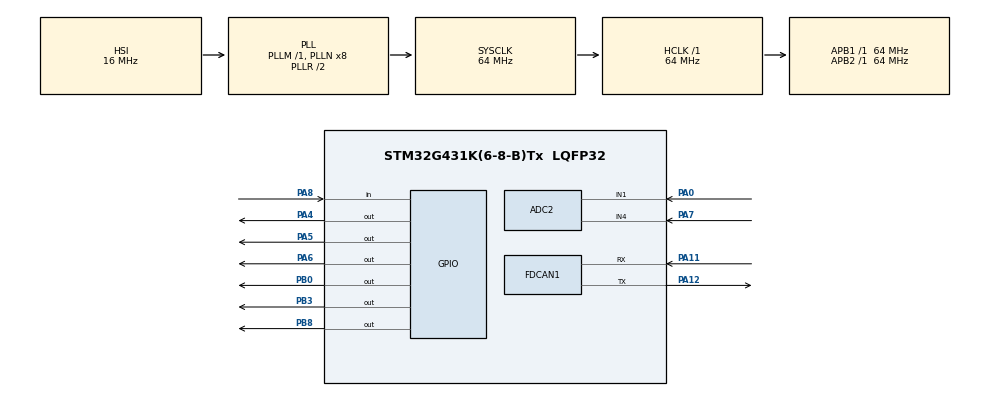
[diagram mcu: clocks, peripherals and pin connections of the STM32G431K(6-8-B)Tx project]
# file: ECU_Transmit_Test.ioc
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ADC2.Channel-0\#ChannelRegularConversion=ADC_CHANNEL_4
ADC2.Channel-1\#ChannelRegularConversion=ADC_CHANNEL_1
ADC2.ClockPrescaler=ADC_CLOCK_ASYNC_DIV2
ADC2.EOCSelection=ADC_EOC_SEQ_CONV
ADC2.LowPowerAutoWait=ENABLE
ADC2.NbrOfConversion=2
ADC2.NbrOfConversionFlag=1
ADC2.OffsetNumber-0\#ChannelRegularConversion=ADC_OFFSET_NONE
ADC2.OffsetNumber-1\#ChannelRegularConversion=ADC_OFFSET_NONE
ADC2.Rank-0\#ChannelRegularConversion=1
ADC2.Rank-1\#ChannelRegularConversion=2
ADC2.SamplingTime-0\#ChannelRegularConversion=ADC_SAMPLETIME_2CYCLES_5
ADC2.SamplingTime-1\#ChannelRegularConversion=ADC_SAMPLETIME_2CYCLES_5
Dma.ADC2.0.Direction=DMA_PERIPH_TO_MEMORY
Dma.ADC2.0.EventEnable=DISABLE
Dma.ADC2.0.Instance=DMA1_Channel1
Dma.ADC2.0.MemDataAlignment=DMA_MDATAALIGN_HALFWORD
Dma.ADC2.0.MemInc=DMA_MINC_ENABLE
Dma.ADC2.0.Mode=DMA_CIRCULAR
Dma.ADC2.0.PeriphDataAlignment=DMA_PDATAALIGN_HALFWORD
Dma.ADC2.0.PeriphInc=DMA_PINC_DISABLE
Dma.ADC2.0.Polarity=HAL_DMAMUX_REQ_GEN_RISING
Dma.ADC2.0.Priority=DMA_PRIORITY_HIGH
Dma.ADC2.0.RequestNumber=1
Dma.ADC2.0.SignalID=NONE
Dma.ADC2.0.SyncEnable=DISABLE
Dma.ADC2.0.SyncPolarity=HAL_DMAMUX_SYNC_NO_EVENT
Dma.ADC2.0.SyncRequestNumber=1
Dma.ADC2.0.SyncSignalID=NONE
Dma.Request0=ADC2
FDCAN1.CalculateBaudRateNominal=250000
FDCAN1.CalculateTimeBitNominal=4000
FDCAN1.CalculateTimeQuantumNominal=250.0
FDCAN1.NominalPrescaler=16
FDCAN1.NominalTimeSeg1=13
FDCAN1.NominalTimeSeg2=2
Mcu.Family=STM32G4
Mcu.Name=STM32G431K(6-8-B)Tx
Mcu.Package=LQFP32
NUCLEO-G431KB.LD2=true
NUCLEO-G431KB.VCP=true
NVIC.ADC1_2_IRQn=true\:0\:0\:false\:false\:true\:true\:true\:true
NVIC.DMA1_Channel1_IRQn=true\:0\:0\:false\:false\:true\:false\:true\:true
NVIC.FDCAN1_IT0_IRQn=true\:0\:0\:false\:false\:true\:true\:true\:true
NVIC.PriorityGroup=NVIC_PRIORITYGROUP_4
PA0.Mode=IN1-Single-Ended
PA0.Signal=ADC2_IN1
PA11.Mode=FDCAN_Activate
PA11.Signal=FDCAN1_RX
PA12.Mode=FDCAN_Activate
PA12.Signal=FDCAN1_TX
PA2.Signal=USART2_TX
PA3.Signal=USART2_RX
PA4.Signal=GPIO_Output
PA5.Signal=GPIO_Output
PA6.Signal=GPIO_Output
PA7.Mode=IN4-Single-Ended
PA7.Signal=ADC2_IN4
PA8.GPIO_PuPd=GPIO_PULLDOWN
PA8.Signal=GPIO_Input
PB0.Signal=GPIO_Output
PB3.Signal=GPIO_Output
PB8-BOOT0.Signal=GPIO_Output
ProjectManager.HeapSize=0x200
ProjectManager.StackSize=0x400
ProjectManager.TargetToolchain=STM32CubeIDE
RCC.ADC12CLockSelection=RCC_ADC12CLKSOURCE_PLL
RCC.ADC12Freq_Value=16000000
RCC.AHBFreq_Value=64000000
RCC.APB1Freq_Value=64000000
RCC.APB1TimFreq_Value=64000000
RCC.APB2Freq_Value=64000000
RCC.APB2TimFreq_Value=64000000
RCC.CortexFreq_Value=64000000
RCC.EXTERNAL_CLOCK_VALUE=12288000
RCC.HCLKFreq_Value=64000000
RCC.HSE_VALUE=8000000
RCC.HSI48_VALUE=48000000
RCC.HSI_VALUE=16000000
RCC.LSE_VALUE=32768
RCC.PLLP=RCC_PLLP_DIV8
RCC.SYSCLKFreq_VALUE=64000000
RCC.SYSCLKSource=RCC_SYSCLKSOURCE_PLLCLK
RCC.USBFreq_Value=64000000
RCC.VCOOutputFreq_Value=128000000
VP_NUCLEO-G431KB_VS_BSP_COMMON.Mode=COMMON
VP_SYS_VS_DBSignals.Mode=DisableDeadBatterySignals
board=NUCLEO-G431KB

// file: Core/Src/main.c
/* USER CODE BEGIN Header */
/**
  ******************************************************************************
  * @file           : main.c
  * @brief          : Main program body
  ******************************************************************************
  * @attention
  *
  * Copyright (c) 2025 STMicroelectronics.
  * All rights reserved.
  *
  * This software is licensed under terms that can be found in the LICENSE file
  * in the root directory of this software component.
  * If no LICENSE file comes with this software, it is provided AS-IS.
  *
  ******************************************************************************
  */
/* USER CODE END Header */
#include "main.h"

COM_InitTypeDef BspCOMInit;

ADC_HandleTypeDef hadc2;
DMA_HandleTypeDef hdma_adc2;

FDCAN_HandleTypeDef hfdcan1;

/* USER CODE BEGIN PV */
// Race state
struct RaceState race_state;
MotoState moto_state = STATE_PRECHARGE;
ChargerCom charge_com = ON;
BMSCom BMS = SLEEP;
// Sensors
struct Throttle throttle_sensor;
struct SteeringAngle steering_sensor;

// CAN
FDCAN_TxHeaderTypeDef tx_header;
can_message_eight tx_data;
can_message_four tx_data_four;
can_message_eight inverter_on_msg = { .sensor_int = 0x0101010101010101 };

FDCAN_RxHeaderTypeDef rx_header;
can_message_eight rx_data;

can_message_eight button_data_test;

// ADC
__IO uint8_t adc_complete_flag = 0;
uint16_t raw_adc_values[2];
/* USER CODE END PV */

void SystemClock_Config(void);
static void MX_GPIO_Init(void);
static void MX_DMA_Init(void);
static void MX_ADC2_Init(void);
static void MX_FDCAN1_Init(void);

/* USER CODE BEGIN 0 */
void HAL_FDCAN_RxFifo0Callback(FDCAN_HandleTypeDef *hfdcan, uint32_t RxFifo0ITs) {
	if ((RxFifo0ITs & FDCAN_IT_RX_FIFO0_NEW_MESSAGE) != RESET)
	{
		HAL_GPIO_TogglePin(GPIOB, GPIO_PIN_8);

		// Retrieve Rx messages from RX FIFO0
		if (HAL_FDCAN_GetRxMessage(hfdcan, FDCAN_RX_FIFO0, &rx_header, rx_data.bytes) != HAL_OK)
		{
			// Reception Error
			Error_Handler();
		} else {
			// No error, process received payload
			switch (rx_header.Identifier) {
				// Inverter
				case 0x181:
					break;

				case 0x281:
					break;
				case 0x381:
					break;
				case 0x481:
					break;
				// Display
				case 0x301:
					// Read which button was pressed
					//button_data_test.sensor_int = rx_data.sensor_int;
					//handle_button_press(&race_state, rx_data.bytes[0]); todo: remove the comments
					break;
				case 0x341: // bms actions, take them to do smthng with charger, for the debugging we do not need to do
					// bc we debug directly

					break;
				case 0x441:
					break;

			}
		}

		// Reactive receive notifications
		if (HAL_FDCAN_ActivateNotification(hfdcan, FDCAN_IT_RX_FIFO0_NEW_MESSAGE, 0) != HAL_OK)
		{
			Error_Handler();
		}
	}
}

// error detection

void fault_pin_service()
{
    if (HAL_GPIO_ReadPin(PORT_RELAY_STATE, PIN_RELAY_STATE) == GPIO_PIN_SET) {

            moto_state = STATE_ERROR;
    }
    if (HAL_GPIO_ReadPin(PORT_RELAY_STATE, PIN_RELAY_STATE) == GPIO_PIN_RESET) {
    	if (moto_state == STATE_ERROR){

                moto_state = STATE_NORMAL;
    	}
        }
}

//set output

static inline void set_all(GPIO_PinState o1, GPIO_PinState o2,
                           GPIO_PinState o3, GPIO_PinState o4)
{
    HAL_GPIO_WritePin(PORT_PRECHARGE, PIN_PRECHARGE, o1);
    HAL_GPIO_WritePin(PORT_NORMAL, PIN_NORMAL, o2);
    HAL_GPIO_WritePin(PORT_CHARGE, PIN_CHARGE, o3);
    HAL_GPIO_WritePin(PORT_ERROR, PIN_ERROR, o4);
}

// Race state
void race_state_init(struct RaceState* rs) {
	rs->rain_state = STATE_NO_RAIN;
	rs->race_mode = MODE_RACE;
}

//check moto_state
void check_moto_state(uint8_t toggle_precharge) {
    switch (moto_state) {
        case STATE_PRECHARGE:
            // Actions spécifiques au précharge
         	 if (toggle_precharge > 200) {
         				 HAL_GPIO_TogglePin(PORT_NORMAL, PIN_NORMAL);

         			  }

            break;

        case STATE_NORMAL:
            // Actions spécifiques au mode normal
            set_all(GPIO_PIN_RESET, GPIO_PIN_SET, GPIO_PIN_RESET, GPIO_PIN_RESET);

            break;

        case STATE_CHARGE:
            // Actions spécifiques à la charge
            set_all(GPIO_PIN_RESET, GPIO_PIN_RESET, GPIO_PIN_SET, GPIO_PIN_RESET);

            break;

        case STATE_ERROR:
            // Actions en cas d'erreur
            set_all(GPIO_PIN_RESET, GPIO_PIN_RESET, GPIO_PIN_RESET, GPIO_PIN_SET);

            break;
    }
}

void handle_button_press(struct RaceState* rs, uint8_t button_index) {
	if (button_index == 1) {
		// Rain state update, green button
		// TODO: possibly replace with a simple bit inversion
		if (rs->rain_state == STATE_NO_RAIN) {
			rs->rain_state = STATE_RAIN;
		} else {  // rs->rain_state == STATE_RAIN
			rs->rain_state = STATE_NO_RAIN;
			// Turn off rearlight
			HAL_GPIO_WritePin(GPIOB, GPIO_PIN_3, GPIO_PIN_RESET);
		}

		// Send rain state update message to display
		send_rain_state_display(rs);
	} else {
		// Race mode update
		switch (button_index) {
			// TODO: Maybe use an enum for the button indices and names
			case 2:  // White
				if (rs->race_mode == MODE_GYMKHANA) {
					rs->race_mode = MODE_RACE;
				} else {
					rs->race_mode = MODE_GYMKHANA;
				}
				break;
			case 3:  // Black
				if (rs->race_mode == MODE_ECO) {
					rs->race_mode = MODE_RACE;
				} else {
					rs->race_mode = MODE_ECO;
				}
				break;
			case 4:  // Yellow
				if (rs->race_mode == MODE_SENSOR_READING) {
					rs->race_mode = MODE_RACE;
				} else {
					rs->race_mode = MODE_SENSOR_READING;
				}
				break;
			case 5:  // Blue
				if (rs->race_mode == MODE_PIT_LIMITER) {
					rs->race_mode = MODE_RACE;
				} else {
					rs->race_mode = MODE_PIT_LIMITER;
				}
				break;
		}

		// Send race mode update message to display
		send_race_mode_display(rs);
	}
}

void convert_float_display(can_message_four* msg_in, can_message_four* msg_out, int decimal_points) {
    // Used for MoTeC
	msg_out->sensor_int = (uint32_t) (msg_in->sensor_float * decimal_points);
}

void send_CAN_message(uint32_t address, can_message_eight* msg) {
    // Update ID of the transmit header
    tx_header.Identifier = address;

  if (HAL_FDCAN_AddMessageToTxFifoQ(&hfdcan1, &tx_header, msg->bytes) != HAL_OK) {
        Error_Handler();
    }
}
void send_CAN_message_four(uint32_t address, can_message_four* msg) {
    // Update ID of the transmit header
    tx_header.Identifier = address;
    tx_header.DataLength = FDCAN_DLC_BYTES_4;

  if (HAL_FDCAN_AddMessageToTxFifoQ(&hfdcan1, &tx_header, msg->bytes) != HAL_OK) {
        Error_Handler();

    }
  tx_header.DataLength = FDCAN_DLC_BYTES_8;;
}

void send_turn_on_inverter(void) {
	// Sends a ON message to the inverter
	send_CAN_message(0x201, &inverter_on_msg);
}

void send_velocity_ref_inverter(struct Throttle* th) {
	// Check for safe throttle (and RPM) values
	if (throttle_sensor.throttle_value.sensor_float <= 100.0f) {
		tx_data.first.sensor_int = 0;
		tx_data.second.sensor_float = 1*throttle_sensor.throttle_value.sensor_float;
		send_CAN_message(0x301, &tx_data);

		send_turn_on_inverter();
	}
}

// Display transmission functions
void send_throttle_steering_display(struct Throttle* th, struct SteeringAngle* sa) {
	 // Send throttle in the first 4 bytes
	 th->throttle_value.sensor_float *= 2;  // TODO: fix, this could be a problem!
	 convert_float_display(&th->throttle_value, &tx_data.first, DECIMAL_POINT_2);

	 // Send steering angle in the last 4 bytes
	 // todo: REMOVE THE IF STATEMENTS HERE LATER, THIS IS JUST FOR ROLLOUT
	 if (sa->steering_value.sensor_float < 0) {
		 if (sa->steering_value.sensor_float < -24.0f) {
			 sa->steering_value.sensor_float = 24.0f;
		 } else {
			 sa->steering_value.sensor_float = -sa->steering_value.sensor_float;
		 }
	 }
	 convert_float_display(&sa->steering_value, &tx_data.second, DECIMAL_POINT_2);

	 send_CAN_message(0x102, &tx_data);
}

void send_race_mode_display(struct RaceState* rs) {
	tx_data.sensor_int = 0;  // reset transmit data
	tx_data.bytes[0] = rs->race_mode;
	send_CAN_message(0x202, &tx_data);
}

void send_rain_state_display(struct RaceState* rs) {
	tx_data.sensor_int = 0;  // reset transmit data
	tx_data.bytes[0] = rs->rain_state;
	send_CAN_message(0x302, &tx_data);
}

// Throttle functions
void throttle_init(struct Throttle* thr) {
	thr->adc_sum = 0;
	thr->buffer_index = 0;
	thr->hysteresis = 2.0f;
	thr->hysteresis_min = 5.0f;
	thr->throttle_activated = 0;
	// Init buffer with zeroes
	// maybe this can also be done at initialization
	for (int i = 0; i < THROTTLE_BUFFER_SIZE; i++) {
		thr->buffer[i] = 0;
	}

	thr->throttle_value.sensor_float = 0.0f;  // init with 0 for safety
}

void convert_adc_throttle(struct Throttle* th, uint16_t adc_value) {
	 // Calibration
	 float volt = 3.3f*((float) adc_value) / 4096.0f;  // TODO: we should always get 0 ?
	 float calc = ((float) volt-0.42f)*100.0f/1.65f;

	 th->adc_sum -= th->buffer[th->buffer_index];

	 // Add new sample
	 th->buffer[th->buffer_index] = calc;
	 th->adc_sum += calc;

	 // Increment index
	 th->buffer_index++;
	 if (th->buffer_index >= THROTTLE_BUFFER_SIZE) {
		 th->buffer_index = 0;
	 }

	 float output_value = th->adc_sum / THROTTLE_BUFFER_SIZE;

	 if (output_value > 100.0f){
		 output_value = 100.0f;
	 }

	 // Hysteresis -- TODO: This could be cleaned up?
	 if (output_value > th->hysteresis_min){
		 th->throttle_activated = 1;
	 }
	 if (th->throttle_activated == 1 && output_value < (th->hysteresis_min - th->hysteresis)){
		 th->throttle_activated = 0;
	 }

	 // Write output value
	 if (th->throttle_activated == 1) {
		 th->throttle_value.sensor_float = output_value;
	 } else {
		 th->throttle_value.sensor_float = 0.0f;
	 }
}

// Steering angle functions
void steering_angle_init(struct SteeringAngle* sa) {
	sa->adc_sum = 0;
	sa->buffer_index = 0;

	// Init buffer with zeroes
	// maybe this can also be done at initialization
	for (int i = 0; i < THROTTLE_BUFFER_SIZE; i++) {
		sa->buffer[i] = 0;
	}

	sa->steering_value.sensor_float = 0.0f;  // init with 0 for safety
}

void steering_angle_avg(struct SteeringAngle* sa, float steering_value) {
	sa->adc_sum -= sa->buffer[sa->buffer_index];

	// Add new sample
	sa->buffer[sa->buffer_index] = steering_value;
	sa->adc_sum += steering_value;

	// Increment index
	sa->buffer_index++;
	if (sa->buffer_index >= 32) {
		sa->buffer_index = 0;
	}

	// Write average value
	sa->steering_value.sensor_float = sa->adc_sum / 32.0f;
}

// ADC functions
void HAL_ADC_ConvCpltCallback(ADC_HandleTypeDef *hadc){
	adc_complete_flag = 1;
}

// je dois changer le header pour ca

 void CAN_Charger(uint8_t  value){
	 if (charge_com==OFF){
		 tx_data_four.bytes[0] = 0;
		 tx_data_four.bytes[1] = 0;
		 tx_data_four.bytes[2] = 0;
		 tx_data_four.bytes[3] = 0;
	 }
	 if (charge_com==ON){
		 tx_data_four.bytes[0] = 0;
		 tx_data_four.bytes[1] = 0;
		 tx_data_four.bytes[2] = 1;
		 tx_data_four.bytes[3] = 0;
	 }
	 if (charge_com==VOUT_SET){
		 tx_data_four.bytes[0] = 0x20;
		 tx_data_four.bytes[1] = 0;
		 tx_data_four.bytes[2] = 0x58;// change la valeur pour celle dont on a besoin
		 tx_data_four.bytes[3] = 0x1B; // attention frame format!

	 }
	 if (charge_com==IOUT_SET){
		 tx_data_four.bytes[0] = 0x20;
		 tx_data_four.bytes[1] = 0;
		 tx_data_four.bytes[2] = 0x10;
		 tx_data_four.bytes[3] = 0x27;
	 }
	 if (charge_com==FAULT_STATUS){
// different action here
	 }
	    tx_header.IdType = FDCAN_EXTENDED_ID;
	send_CAN_message_four(CHARGER_RXID, &tx_data_four); //je dois le decommenter ensuite
    tx_header.IdType = FDCAN_STANDARD_ID;

 }
 void BMS_Charger(void){

	 if (BMS==SLEEP){
		 tx_data.bytes[0] = 0x20;
		 tx_data.bytes[1] = 0;
		 tx_data.bytes[2] = 0x10;
		 tx_data.bytes[3] = 0x27;
		 tx_data.bytes[4] = 0x20;
		 tx_data.bytes[5] = 0;
		 tx_data.bytes[6] = 0x10;
		 tx_data.bytes[7] = 0x27;
	 }
	 if (BMS== BMS_ON){
		 tx_data.bytes[0] = 0x20;
		 tx_data.bytes[1] = 0;
		 tx_data.bytes[2] = 0x10;
		 tx_data.bytes[3] = 0x27;
		 tx_data.bytes[4] = 0x20;
		 tx_data.bytes[5] = 0;
		 tx_data.bytes[6] = 0x10;
		 tx_data.bytes[7] = 0x27;
	 }
		send_CAN_message(BMS_RXID, &tx_data); //je dois le decommenter ensuite

 }
void  State_Change(uint32_t time_now,uint32_t time_last_200ms,uint32_t time_last_3000ms){
	 uint8_t toggle_precharge = time_now - time_last_200ms;
	if (time_now - time_last_3000ms > 3000)
 	 {
 			 moto_state = STATE_NORMAL;
 			time_last_3000ms= -3000; // todo: change the code to be compliant with the rules
 	}

	 fault_pin_service();
	 check_moto_state(toggle_precharge);
}

/* USER CODE END 0 */

int main(void)
{

  /* MCU Configuration--------------------------------------------------------*/

  /* Reset of all peripherals, Initializes the Flash interface and the Systick. */
  HAL_Init();

  /* Configure the system clock */
  SystemClock_Config();

  /* Initialize all configured peripherals */
  MX_GPIO_Init();
  MX_DMA_Init();
  MX_ADC2_Init();
  MX_FDCAN1_Init();
  /* USER CODE BEGIN 2 */
  // Start ADC2
  HAL_ADC_Start_DMA(&hadc2, (uint32_t*) raw_adc_values, 2);

  // Start FDCAN1
    if (HAL_FDCAN_Start(&hfdcan1) != HAL_OK)
    {
      Error_Handler();
    }
    if (HAL_FDCAN_ActivateNotification(&hfdcan1, FDCAN_IT_RX_FIFO0_NEW_MESSAGE, 0) != HAL_OK)
    {
      /* Notification Error */
      Error_Handler();
    }

  // Init race state
  race_state_init(&race_state);
  // Init sensor structs
  throttle_init(&throttle_sensor);
  steering_angle_init(&steering_sensor);

  /* USER CODE END 2 */

  /* Initialize leds */
  BSP_LED_Init(LED_GREEN);

  /* Initialize COM1 port (115200, 8 bits (7-bit data + 1 stop bit), no parity */
  BspCOMInit.BaudRate   = 115200;
  BspCOMInit.WordLength = COM_WORDLENGTH_8B;
  BspCOMInit.StopBits   = COM_STOPBITS_1;
  BspCOMInit.Parity     = COM_PARITY_NONE;
  BspCOMInit.HwFlowCtl  = COM_HWCONTROL_NONE;
  if (BSP_COM_Init(COM1, &BspCOMInit) != BSP_ERROR_NONE)
  {
    Error_Handler();
  }

  /* Infinite loop */
  /* USER CODE BEGIN WHILE */
  uint32_t time_last_200ms = HAL_GetTick();
  uint32_t time_now;
uint8_t val = 0;

  while (1)
  {

	//	tx_data.first.sensor_int = 14;
	//	tx_data.second.sensor_float = 23;
	 // send_CAN_message(0x301, &tx_data);

	//	 HAL_GPIO_TogglePin(GPIOB, GPIO_PIN_8);
// a remetre pr l envoyeur
		// time_now = HAL_GetTick();

		// State_Change(time_now,time_last_200ms,time_last_3000ms);
		 time_now = HAL_GetTick();
			charge_com= SLEEP ;

	//	 if (time_now - time_last_200ms > 500) {
		// BMS_Charger();
		//			HAL_GPIO_TogglePin(GPIOB, GPIO_PIN_8);
	//	time_last_200ms = time_now;
	//				 ++val;

	//	 }

	//	if (val ==10){
//			BMS= BMS_ON ;
//			val = 11;
//		}
//		if (val ==21){
//			charge_com= SLEEP ;
//			val = 0;

 	 // Charger

 	 //
	}

  // Turn on the inverter

  int time_sum = 0;
  while (time_sum < 5000) {
	 send_turn_on_inverter();

	 // CAN messages at 50 ms interval
	 time_sum += 50;
	 HAL_Delay(50);
  }

  // Send Race Mode and Rain State
  send_race_mode_display(&race_state);
  send_rain_state_display(&race_state);

  uint32_t time_last_5ms = HAL_GetTick();
  uint32_t time_last_50ms = HAL_GetTick();
 // uint32_t time_last_200ms = HAL_GetTick(); attention!

  //uint32_t time_now; ///// attention!
  while (1)
  {
	 time_now = HAL_GetTick();

	 // Display
	 if (time_now - time_last_5ms > 5) {
		 send_throttle_steering_display(&throttle_sensor, &steering_sensor);
		 time_last_5ms = time_now;  // update last time
	 }

	 // Inverter
	 if (time_now - time_last_50ms > 50) {
		 send_velocity_ref_inverter(&throttle_sensor);
		 time_last_50ms = time_now;  // update last time
	 }

	 // Rearlight
	 if (time_now - time_last_200ms > 200) {
		 if (race_state.rain_state == STATE_RAIN) {
			 HAL_GPIO_TogglePin(GPIOB, GPIO_PIN_3);

		 } else if (race_state.race_mode == MODE_RACE) {
			 HAL_GPIO_WritePin(GPIOB, GPIO_PIN_3, GPIO_PIN_SET);
		 } else {
			 HAL_GPIO_WritePin(GPIOB, GPIO_PIN_3, GPIO_PIN_RESET);
		 }

		 time_last_200ms = time_now;  // update last time
	 }

	 // Other tasks
	 if (adc_complete_flag) {
		 // Get throttle
		 convert_adc_throttle(&throttle_sensor, raw_adc_values[0]);
//	     SpeedReference = ThrottleValue*MaxRPM/100.0;  // TODO: remove

		 // Get steering angle
		 float steering_value = (raw_adc_values[1]-3200)/4095.0f*110.0f;
		 steering_angle_avg(&steering_sensor, steering_value);

		 // Reset ADC input
		 adc_complete_flag = 0;
		 HAL_ADC_Start_DMA(&hadc2, (uint32_t*) raw_adc_values, 2);
	 }
	 // state of the motorcycle
	// fault_pin_service();
//	 check_moto_state();

    /* USER CODE END WHILE */

  }
}

void SystemClock_Config(void)
{
  RCC_OscInitTypeDef RCC_OscInitStruct = {0};
  RCC_ClkInitTypeDef RCC_ClkInitStruct = {0};

  /** Configure the main internal regulator output voltage
  */
  HAL_PWREx_ControlVoltageScaling(PWR_REGULATOR_VOLTAGE_SCALE1);

  /** Initializes the RCC Oscillators according to the specified parameters
  * in the RCC_OscInitTypeDef structure.
  */
  RCC_OscInitStruct.OscillatorType = RCC_OSCILLATORTYPE_HSI;
  RCC_OscInitStruct.HSIState = RCC_HSI_ON;
  RCC_OscInitStruct.HSICalibrationValue = RCC_HSICALIBRATION_DEFAULT;
  RCC_OscInitStruct.PLL.PLLState = RCC_PLL_ON;
  RCC_OscInitStruct.PLL.PLLSource = RCC_PLLSOURCE_HSI;
  RCC_OscInitStruct.PLL.PLLM = RCC_PLLM_DIV1;
  RCC_OscInitStruct.PLL.PLLN = 8;
  RCC_OscInitStruct.PLL.PLLP = RCC_PLLP_DIV8;
  RCC_OscInitStruct.PLL.PLLQ = RCC_PLLQ_DIV2;
  RCC_OscInitStruct.PLL.PLLR = RCC_PLLR_DIV2;
  if (HAL_RCC_OscConfig(&RCC_OscInitStruct) != HAL_OK)
  {
    Error_Handler();
  }

  /** Initializes the CPU, AHB and APB buses clocks
  */
  RCC_ClkInitStruct.ClockType = RCC_CLOCKTYPE_HCLK|RCC_CLOCKTYPE_SYSCLK
                              |RCC_CLOCKTYPE_PCLK1|RCC_CLOCKTYPE_PCLK2;
  RCC_ClkInitStruct.SYSCLKSource = RCC_SYSCLKSOURCE_PLLCLK;
  RCC_ClkInitStruct.AHBCLKDivider = RCC_SYSCLK_DIV1;
  RCC_ClkInitStruct.APB1CLKDivider = RCC_HCLK_DIV1;
  RCC_ClkInitStruct.APB2CLKDivider = RCC_HCLK_DIV1;

  if (HAL_RCC_ClockConfig(&RCC_ClkInitStruct, FLASH_LATENCY_2) != HAL_OK)
  {
    Error_Handler();
  }
}

static void MX_ADC2_Init(void)
{

  ADC_ChannelConfTypeDef sConfig = {0};

  /** Common config
  */
  hadc2.Instance = ADC2;
  hadc2.Init.ClockPrescaler = ADC_CLOCK_ASYNC_DIV2;
  hadc2.Init.Resolution = ADC_RESOLUTION_12B;
  hadc2.Init.DataAlign = ADC_DATAALIGN_RIGHT;
  hadc2.Init.GainCompensation = 0;
  hadc2.Init.ScanConvMode = ADC_SCAN_ENABLE;
  hadc2.Init.EOCSelection = ADC_EOC_SEQ_CONV;
  hadc2.Init.LowPowerAutoWait = ENABLE;
  hadc2.Init.ContinuousConvMode = DISABLE;
  hadc2.Init.NbrOfConversion = 2;
  hadc2.Init.DiscontinuousConvMode = DISABLE;
  hadc2.Init.ExternalTrigConv = ADC_SOFTWARE_START;
  hadc2.Init.ExternalTrigConvEdge = ADC_EXTERNALTRIGCONVEDGE_NONE;
  hadc2.Init.DMAContinuousRequests = DISABLE;
  hadc2.Init.Overrun = ADC_OVR_DATA_PRESERVED;
  hadc2.Init.OversamplingMode = DISABLE;
  if (HAL_ADC_Init(&hadc2) != HAL_OK)
  {
    Error_Handler();
  }

  /** Configure Regular Channel
  */
  sConfig.Channel = ADC_CHANNEL_4;
  sConfig.Rank = ADC_REGULAR_RANK_1;
  sConfig.SamplingTime = ADC_SAMPLETIME_2CYCLES_5;
  sConfig.SingleDiff = ADC_SINGLE_ENDED;
  sConfig.OffsetNumber = ADC_OFFSET_NONE;
  sConfig.Offset = 0;
  if (HAL_ADC_ConfigChannel(&hadc2, &sConfig) != HAL_OK)
  {
    Error_Handler();
  }

  /** Configure Regular Channel
  */
  sConfig.Channel = ADC_CHANNEL_1;
  sConfig.Rank = ADC_REGULAR_RANK_2;
  if (HAL_ADC_ConfigChannel(&hadc2, &sConfig) != HAL_OK)
  {
    Error_Handler();
  }

}

static void MX_FDCAN1_Init(void)
{

  hfdcan1.Instance = FDCAN1;
  hfdcan1.Init.ClockDivider = FDCAN_CLOCK_DIV1;
  hfdcan1.Init.FrameFormat = FDCAN_FRAME_CLASSIC;
  hfdcan1.Init.Mode = FDCAN_MODE_NORMAL;
  hfdcan1.Init.AutoRetransmission = DISABLE;
  hfdcan1.Init.TransmitPause = DISABLE;
  hfdcan1.Init.ProtocolException = DISABLE;
  hfdcan1.Init.NominalPrescaler = 16;
  hfdcan1.Init.NominalSyncJumpWidth = 1;
  hfdcan1.Init.NominalTimeSeg1 = 13;
  hfdcan1.Init.NominalTimeSeg2 = 2;
  hfdcan1.Init.DataPrescaler = 1;
  hfdcan1.Init.DataSyncJumpWidth = 1;
  hfdcan1.Init.DataTimeSeg1 = 1;
  hfdcan1.Init.DataTimeSeg2 = 1;
  hfdcan1.Init.StdFiltersNbr = 0;
  hfdcan1.Init.ExtFiltersNbr = 0;
  hfdcan1.Init.TxFifoQueueMode = FDCAN_TX_FIFO_OPERATION;
  if (HAL_FDCAN_Init(&hfdcan1) != HAL_OK)
  {
    Error_Handler();
  }
  /* USER CODE BEGIN FDCAN1_Init 2 */
  tx_header.Identifier = 0x301;  // no need to init address yet
    tx_header.IdType = FDCAN_STANDARD_ID;
    tx_header.TxFrameType = FDCAN_DATA_FRAME;
    tx_header.DataLength = FDCAN_DLC_BYTES_8;
    tx_header.ErrorStateIndicator = FDCAN_ESI_ACTIVE;
    tx_header.BitRateSwitch = FDCAN_BRS_OFF;
    tx_header.FDFormat = FDCAN_CLASSIC_CAN;
    tx_header.TxEventFifoControl = FDCAN_NO_TX_EVENTS;
    tx_header.MessageMarker = 0;
  /* USER CODE END FDCAN1_Init 2 */

}

static void MX_DMA_Init(void)
{

  /* DMA controller clock enable */
  __HAL_RCC_DMAMUX1_CLK_ENABLE();
  __HAL_RCC_DMA1_CLK_ENABLE();

  /* DMA interrupt init */
  /* DMA1_Channel1_IRQn interrupt configuration */
  HAL_NVIC_SetPriority(DMA1_Channel1_IRQn, 0, 0);
  HAL_NVIC_EnableIRQ(DMA1_Channel1_IRQn);

}

static void MX_GPIO_Init(void)
{
  GPIO_InitTypeDef GPIO_InitStruct = {0};

  /* GPIO Ports Clock Enable */
  __HAL_RCC_GPIOA_CLK_ENABLE();
  __HAL_RCC_GPIOB_CLK_ENABLE();

  /*Configure GPIO pin Output Level */
  HAL_GPIO_WritePin(GPIOA, GPIO_PIN_4|GPIO_PIN_5|GPIO_PIN_6, GPIO_PIN_RESET);

  /*Configure GPIO pin Output Level */
  HAL_GPIO_WritePin(GPIOB, GPIO_PIN_0|GPIO_PIN_3|GPIO_PIN_8, GPIO_PIN_RESET);

  /*Configure GPIO pins : PA4 PA5 PA6 */
  GPIO_InitStruct.Pin = GPIO_PIN_4|GPIO_PIN_5|GPIO_PIN_6;
  GPIO_InitStruct.Mode = GPIO_MODE_OUTPUT_PP;
  GPIO_InitStruct.Pull = GPIO_NOPULL;
  GPIO_InitStruct.Speed = GPIO_SPEED_FREQ_LOW;
  HAL_GPIO_Init(GPIOA, &GPIO_InitStruct);

  /*Configure GPIO pins : PB0 PB3 PB8 */
  GPIO_InitStruct.Pin = GPIO_PIN_0|GPIO_PIN_3|GPIO_PIN_8;
  GPIO_InitStruct.Mode = GPIO_MODE_OUTPUT_PP;
  GPIO_InitStruct.Pull = GPIO_NOPULL;
  GPIO_InitStruct.Speed = GPIO_SPEED_FREQ_LOW;
  HAL_GPIO_Init(GPIOB, &GPIO_InitStruct);

  /*Configure GPIO pin : PA8 */
  GPIO_InitStruct.Pin = GPIO_PIN_8;
  GPIO_InitStruct.Mode = GPIO_MODE_INPUT;
  GPIO_InitStruct.Pull = GPIO_PULLDOWN;
  HAL_GPIO_Init(GPIOA, &GPIO_InitStruct);

}

/* USER CODE BEGIN Header */
/**
  ******************************************************************************
  * @file           : main.c
  * @brief          : Main program body
  ******************************************************************************
  * @attention
  *
  * Copyright (c) 2025 STMicroelectronics.
  * All rights reserved.
  *
  * This software is licensed under terms that can be found in the LICENSE file
  * in the root directory of this software component.
  * If no LICENSE file comes with this software, it is provided AS-IS.
  *
  ******************************************************************************
  */
/* USER CODE END Header */

void Error_Handler(void)
{
  __disable_irq();
  while (1)
  {
  }
}
